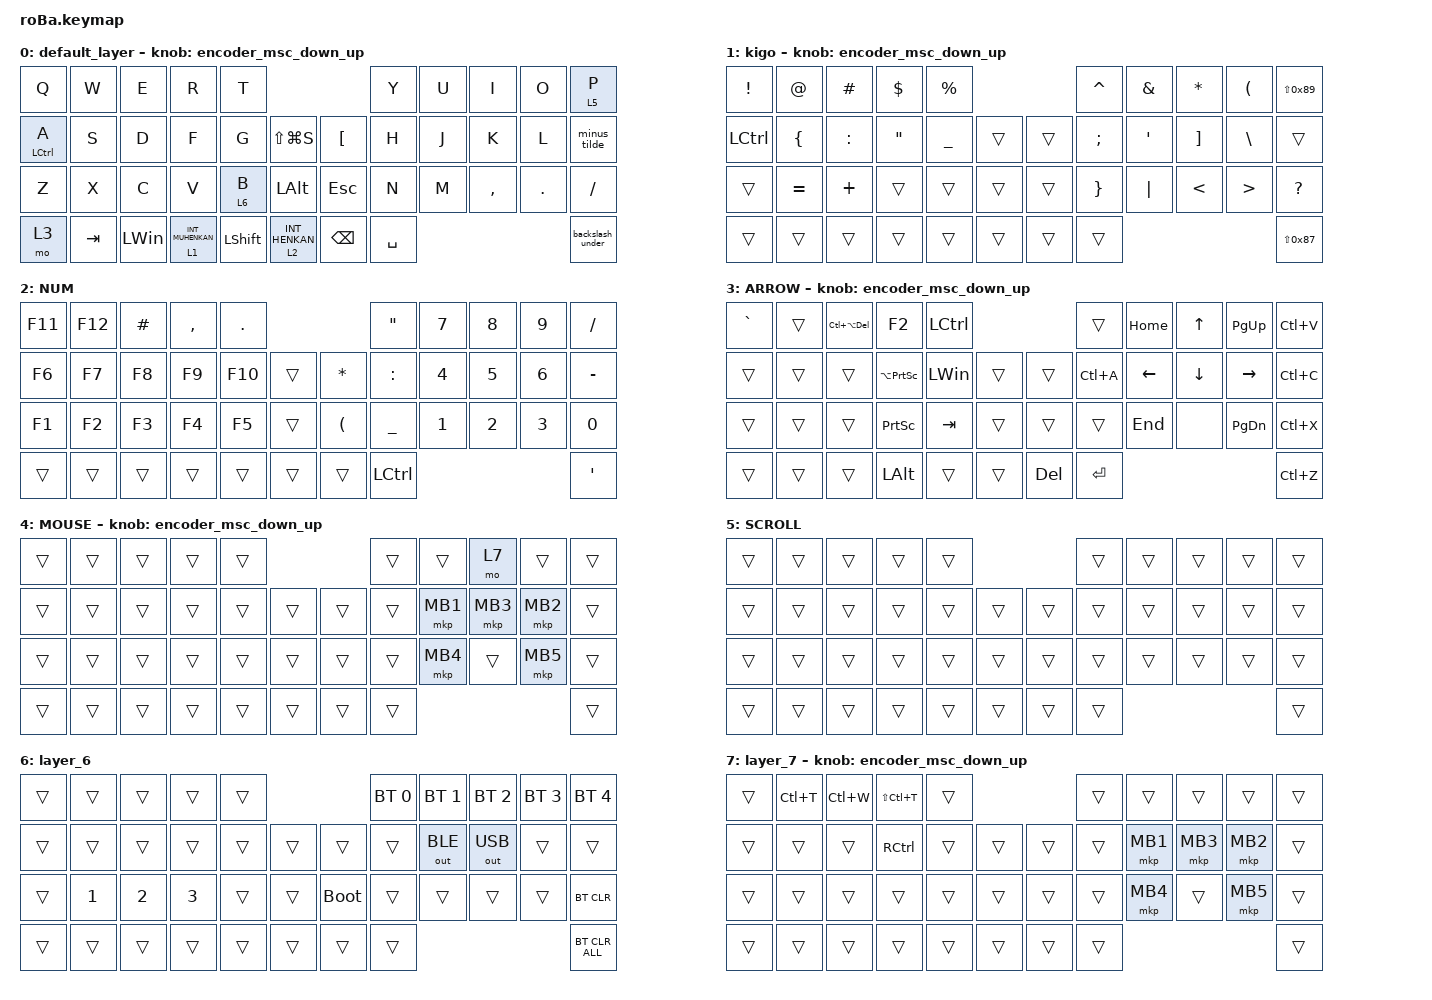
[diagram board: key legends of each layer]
#include <input/processors.dtsi>
#include <dt-bindings/zmk/input_transform.h>
#include <behaviors.dtsi>
#include <dt-bindings/zmk/bt.h>
#include <dt-bindings/zmk/keys.h>
#include <dt-bindings/zmk/outputs.h>
#include <dt-bindings/zmk/pointing.h>

/*スクロール量の定義*/

#define ZMK_POINTING_DEFAULT_SCRL_VAL 80

/*OS設定を日本語キーボードのまま使用するための変換定義*/

#define JP_DQUOTE       AT                // "
#define JP_AMPERSAND    CARET             // &
#define JP_QUOTE        AMPERSAND         // '
#define JP_EQUAL        UNDER             // =
#define JP_CARET        EQUAL             // ^
#define JP_YEN          0x89              // ¥
#define JP_PLUS         COLON             // +
#define JP_TILDE        PLUS              // ~
#define JP_PIPE         LS(0x89)          // |
#define JP_AT           LEFT_BRACKET      // @
#define JP_COLON        SINGLE_QUOTE      // :
#define JP_ASTERISK     DOUBLE_QUOTES     // *
#define JP_BACKQUOTE    LEFT_BRACE        // `
#define JP_UNDERSCORE   LS(0x87)          // _
#define JP_LBRACKET     RIGHT_BRACKET     // [
#define JP_RBRACKET     BACKSLASH         // ]
#define JP_LPAREN       ASTERISK          // (
#define JP_RPAREN       LEFT_PARENTHESIS  // )
#define JP_LBRACE       RIGHT_BRACE       // {
#define JP_RBRACE       PIPE              // }
#define JP_KANA         LANGUAGE_1        // かな
#define JP_EISU         LANGUAGE_2        // 英数
#define JP_HANZEN       GRAVE             // 半角/全角

&mt {
    flavor = "balanced";
    quick-tap-ms = <0>;
};

/*レイヤータップの設定*/

&lt {
    flavor = "balanced";
    tapping-term-ms = <200>; //200msホールドしたらレイヤ切り替わる
};

/*マウスキー押下してから10000ms後にAMLから抜ける*/

&mkp_input_listener { input-processors = <&zip_temp_layer 4 10000>; };

&trackball {
    //automouse-layer = <4>;

    scroll-layers = <5>;

    // arrows {
    //     layers = <3>;
    //     bindings =
    //         <&kp RIGHT_ARROW>,
    //         <&kp LEFT_ARROW>,
    //         <&kp UP_ARROW>,
    //         <&kp DOWN_ARROW>;
    //     tick = <10>;
    //     wait-ms = <5>;
    //     tap-ms = <5>;
    // };
};

/ {
    combos {
        compatible = "zmk,combos";

        tab {
            bindings = <&kp TAB>;
            key-positions = <20 19 21>;
        };

        shift_tab {
            bindings = <&kp LS(TAB)>;
            key-positions = <19 18 20>;
        };

        win_shift_right {
            bindings = <&kp LS(LG(RIGHT_ARROW))>;
            key-positions = <13 12 11>;
        };

        win_shift_left {
            bindings = <&kp LS(LG(LEFT_ARROW))>;
            key-positions = <11 12 10>;
        };

        /* O(8) と P(9) 同時押しでズーム*/

        zoom_combo {
            bindings = <&sc>;
            key-positions = <8 9>;
        };

        win_ctrl_right {
            bindings = <&kp LC(LG(RIGHT_ARROW))>;
            key-positions = <24 25 23>;
        };

        win_ctrl_left {
            bindings = <&kp LC(LG(LEFT_ARROW))>;
            key-positions = <23 24 22>;
        };
    };

    macros {
        to_layer_0: to_layer_0 {
            compatible = "zmk,behavior-macro-one-param";
            #binding-cells = <1>;
            bindings = <&to 0 &macro_param_1to1 &kp MACRO_PLACEHOLDER>;
            label = "TO_LAYER_0";
        };

        /*トラックボールでの拡大・縮小用マクロ*/

        sc: scroll_control {
            compatible = "zmk,behavior-macro";
            #binding-cells = <0>;
            bindings =
                <&macro_press>,
                <&mo 5 &kp LCTRL>,
                <&macro_pause_for_release>,
                <&macro_release>,
                <&kp LCTRL &mo 5>;

            label = "Scroll Ctrl";
        };

        /*「Shift」+「-」で「~」*/

        minus_tilde: minus_tilde {
            compatible = "zmk,behavior-mod-morph";
            label = "MINUS_TILDE";
            #binding-cells = <0>;
            bindings = <&kp MINUS>, <&kp PLUS>;

            // 通常は「-」、Shift時は「~」

            mods = <(MOD_LSFT|MOD_RSFT)>;        // 左右どちらのShiftにも反応
        };

        /*「Shift」+「\」で「_」*/

        backslash_under: backslash_under {
            compatible = "zmk,behavior-mod-morph";
            label = "BACKSLASH_UNDER";
            #binding-cells = <0>;
            bindings = <&kp JP_YEN>, <&kp JP_UNDERSCORE>;

            // 通常は「\」、Shift時は「_」

            mods = <(MOD_LSFT|MOD_RSFT)>;        // 左右どちらのShiftにも反応
        };
    };

    behaviors {
        lt_to_layer_0: lt_to_layer_0 {
            compatible = "zmk,behavior-hold-tap";
            label = "LAYER_TAP_TO_0";
            bindings = <&mo>, <&to_layer_0>;

            #binding-cells = <2>;
            tapping-term-ms = <200>;
        };

        /*ロータリーエンコーダでのマウススクロール設定*/

        encoder_msc_down_up: encoder_msc_down_up {
            compatible = "zmk,behavior-sensor-rotate";
            label = "ENCODER_MSC_DOWN_UP";
            #sensor-binding-cells = <0>;
            bindings = <&msc SCRL_DOWN>, <&msc SCRL_UP>;

            tap-ms = <20>;
        };

        /*トラックボールでのスクロール設定*/

        st: scroll_tap {
            compatible = "zmk,behavior-hold-tap";
            label = "Scroll / Tap";
            bindings = <&mo>, <&kp>;

            #binding-cells = <2>;
            tapping-term-ms = <300>;
            quick-tap-ms = <175>; //1回目押下から175ms以内なら連打判定
            flavor = "tap-preferred";
            require-prior-idle-ms = <125>; //直前に他のキーを打っていたら（125ms以内）、強制的にタップ（文字入力）にする
            hold-while-undecided;
        };

        /*トラックボールでの拡大・縮小用behavior*/

        zp: zoom_tap {
            compatible = "zmk,behavior-hold-tap";
            label = "Zoom / Tap";
            #binding-cells = <2>;
            bindings = <&sc>, <&kp>;

            tapping-term-ms = <300>;
            quick-tap-ms = <175>;
            flavor = "tap-preferred";
            require-prior-idle-ms = <125>; //直前に他のキーを打っていたら（125ms以内）、強制的にタップ（文字入力）にする
            hold-while-undecided;
        };
    };

    keymap {
        compatible = "zmk,keymap";

        default_layer {
            bindings = <
&kp Q        &kp W    &kp E         &kp R               &kp T                                                   &kp Y      &kp U  &kp I      &kp O    &st 5 P
&mt LCTRL A  &kp S    &kp D         &kp F               &kp G           &kp LS(LG(S))         &kp LEFT_BRACKET  &kp H      &kp J  &kp K      &kp L    &minus_tilde
&kp Z        &kp X    &kp C         &kp V               &lt 6 B         &kp LEFT_ALT          &kp ESCAPE        &kp N      &kp M  &kp COMMA  &kp DOT  &kp SLASH
&mo 3        &kp TAB  &kp LEFT_WIN  &lt 1 INT_MUHENKAN  &kp LEFT_SHIFT  &lt 2 INT_HENKAN      &kp BACKSPACE     &kp SPACE                             &backslash_under
            >;

            sensor-bindings = <&encoder_msc_down_up>;
        };

        kigo {
            bindings = <
&kp EXCLAMATION   &kp AT_SIGN     &kp HASH   &kp DOLLAR         &kp PERCENT                      &kp CARET        &kp AMPERSAND  &kp ASTERISK       &kp LEFT_PARENTHESIS  &kp JP_PIPE
&kp LEFT_CONTROL  &kp LEFT_BRACE  &kp COLON  &kp DOUBLE_QUOTES  &kp UNDER    &trans      &trans  &kp SEMICOLON    &kp SQT        &kp RIGHT_BRACKET  &kp BACKSLASH         &trans
&trans            &kp EQUAL       &kp PLUS   &trans             &trans       &trans      &trans  &kp RIGHT_BRACE  &kp PIPE       &kp LESS_THAN      &kp GREATER_THAN      &kp QUESTION
&trans            &trans          &trans     &trans             &trans       &trans      &trans  &trans                                                                   &kp JP_UNDERSCORE
            >;

            sensor-bindings = <&encoder_msc_down_up>;
        };

        NUM {
            bindings = <
&kp F11  &kp F12  &kp HASH  &kp COMMA  &kp PERIOD                                    &kp DOUBLE_QUOTES  &kp N7        &kp N8        &kp N9        &kp SLASH
&kp F6   &kp F7   &kp F8    &kp F9     &kp F10     &trans      &kp ASTERISK          &kp COLON          &kp NUMBER_4  &kp N5        &kp NUMBER_6  &kp MINUS
&kp F1   &kp F2   &kp F3    &kp F4     &kp F5      &trans      &kp LEFT_PARENTHESIS  &kp UNDERSCORE     &kp NUMBER_1  &kp NUMBER_2  &kp NUMBER_3  &kp N0
&trans   &trans   &trans    &trans     &trans      &trans      &trans                &kp LEFT_CONTROL                                             &kp SQT
            >;
        };

        ARROW {
            bindings = <
&kp GRAVE  &trans  &kp LC(LA(DELETE))  &kp F2               &kp LCTRL                             &trans     &kp HOME        &kp UP_ARROW    &kp PAGE_UP      &kp LC(V)
&trans     &trans  &trans              &kp LA(PRINTSCREEN)  &kp LEFT_WIN  &trans      &trans      &kp LC(A)  &kp LEFT_ARROW  &kp DOWN_ARROW  &kp RIGHT_ARROW  &kp LC(C)
&trans     &trans  &trans              &kp PRINTSCREEN      &kp TAB       &trans      &trans      &trans     &kp END         &none           &kp PAGE_DOWN    &kp LC(X)
&trans     &trans  &trans              &kp LEFT_ALT         &trans        &trans      &kp DELETE  &kp ENTER                                                   &kp LC(Z)
            >;

            sensor-bindings = <&encoder_msc_down_up>;
        };

        MOUSE {
            bindings = <
&trans  &trans  &trans  &trans  &trans                      &trans  &trans    &mo 7     &trans    &trans
&trans  &trans  &trans  &trans  &trans  &trans      &trans  &trans  &mkp MB1  &mkp MB3  &mkp MB2  &trans
&trans  &trans  &trans  &trans  &trans  &trans      &trans  &trans  &mkp MB4  &trans    &mkp MB5  &trans
&trans  &trans  &trans  &trans  &trans  &trans      &trans  &trans                                &trans
            >;

            sensor-bindings = <&encoder_msc_down_up>;
        };

        SCROLL {
            bindings = <
&trans  &trans  &trans  &trans  &trans                      &trans  &trans  &trans  &trans  &trans
&trans  &trans  &trans  &trans  &trans  &trans      &trans  &trans  &trans  &trans  &trans  &trans
&trans  &trans  &trans  &trans  &trans  &trans      &trans  &trans  &trans  &trans  &trans  &trans
&trans  &trans  &trans  &trans  &trans  &trans      &trans  &trans                          &trans
            >;
        };

        layer_6 {
            bindings = <
&trans  &trans        &trans        &trans        &trans                           &bt BT_SEL 0  &bt BT_SEL 1  &bt BT_SEL 2  &bt BT_SEL 3  &bt BT_SEL 4
&trans  &trans        &trans        &trans        &trans  &trans      &trans       &trans        &out OUT_BLE  &out OUT_USB  &trans        &trans
&trans  &kp NUMBER_1  &kp NUMBER_2  &kp NUMBER_3  &trans  &trans      &bootloader  &trans        &trans        &trans        &trans        &bt BT_CLR
&trans  &trans        &trans        &trans        &trans  &trans      &trans       &trans                                                  &bt BT_CLR_ALL
            >;
        };

        layer_7 {
            bindings = <
&trans  &kp LC(T)  &kp LC(W)  &kp LS(LC(T))      &trans                      &trans  &trans    &trans    &trans    &trans
&trans  &trans     &trans     &kp RIGHT_CONTROL  &trans  &trans      &trans  &trans  &mkp MB1  &mkp MB3  &mkp MB2  &trans
&trans  &trans     &trans     &trans             &trans  &trans      &trans  &trans  &mkp MB4  &trans    &mkp MB5  &trans
&trans  &trans     &trans     &trans             &trans  &trans      &trans  &trans                                &trans
            >;

            sensor-bindings = <&encoder_msc_down_up>;
        };
    };
};
